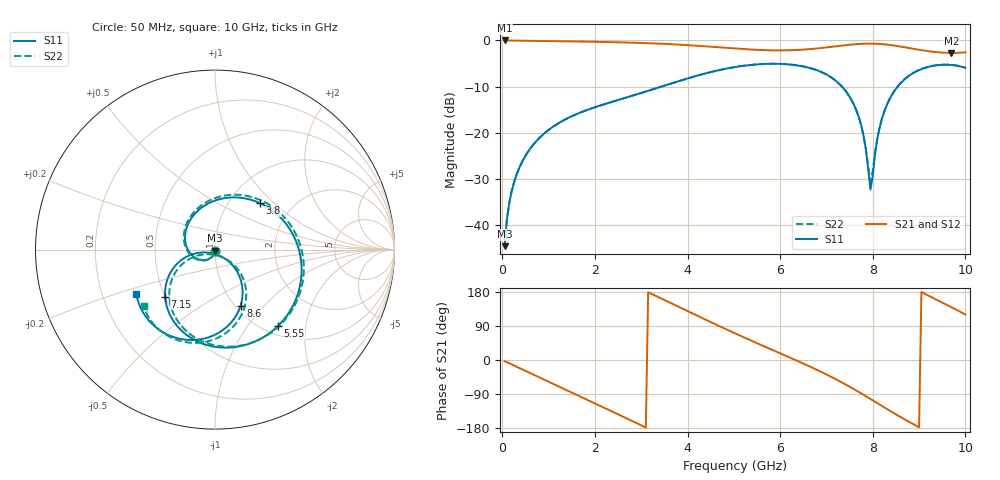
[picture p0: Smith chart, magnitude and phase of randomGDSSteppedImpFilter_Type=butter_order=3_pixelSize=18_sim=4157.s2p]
! freq	dB(S11)	phase(S11)	dB(S12)	phase(S12)
!  dB(S21)	phase(S21)	dB(S22)	phase(S22)
!S-par simulation data
#  GHz  S  DB  R 50
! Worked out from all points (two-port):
!   200 points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, 50 MHz to 10 GHz, reference 50 ohm
!   highest |S21| = -0.01 dB at 50 MHz (marker M1); lowest = -2.7 dB at 9.7 GHz (marker M2)
!   |S21| within 3 dB of the highest: start of sweep to end of sweep
!   lowest |S11| = -44.6 dB at 50 MHz (marker M3), VSWR 1.01, Z = 50 - j0.587 ohm
!   |S11| at or under -10 dB: start of sweep to 3.44 GHz; 7.333 GHz to 8.539 GHz (1.206 GHz wide, 15.2 % of centre)
!   |S22| runs from -44.6 to -5.1 dB; largest |S21 - S12| = 0
!   S11 on the Smith chart (normalised r, x): 50 MHz: 1.00, -0.01; 3.8 GHz: 1.39, +0.82; 5.55 GHz: 1.15, -1.41; 7.15 GHz: 0.50, -0.31; 8.6 GHz: 1.06, -0.75; 10 GHz: 0.35, -0.23
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0.05  -44.62 -88.9  -0.01 -2.9  -0.01 -2.9  -44.61 -89.5
0.2  -32.83 -101.2  -0.02 -11.6  -0.02 -11.6  -32.83 -100.6
0.5  -25.02 -119.8  -0.05 -28.7  -0.05 -28.7  -25.03 -118.3
1.15  -18.35 -158.6  -0.14 -65.9  -0.14 -65.9  -18.35 -155.1
1.75  -15.38 166.0  -0.25 -100.2  -0.25 -100.2  -15.39 171.3
2.65  -12.47 112.9  -0.44 -152.0  -0.44 -152.0  -12.48 120.6
3.4  -10.13 69.0  -0.70 164.2  -0.70 164.2  -10.14 77.2
3.8  -8.86 45.8  -0.90 140.7  -0.90 140.7  -8.87 53.7
4.4  -7.12 11.6  -1.29 105.8  -1.29 105.8  -7.12 18.8
5.05  -5.73 -24.2  -1.77 69.0  -1.77 69.0  -5.73 -17.9
5.55  -5.16 -50.8  -2.06 41.7  -2.06 41.7  -5.16 -45.0
6.7  -6.15 -111.2  -1.83 -20.6  -1.83 -20.6  -6.14 -105.9
7.15  -8.35 -136.6  -1.34 -47.4  -1.34 -47.4  -8.34 -131.1
7.7  -16.71 -167.3  -0.77 -84.5  -0.77 -84.5  -16.66 -160.3
7.85  -23.61 -166.5  -0.70 -95.4  -0.70 -95.4  -23.38 -156.9
7.95  -32.36 -114.7  -0.69 -102.9  -0.69 -102.9  -30.60 -106.6
8.15  -18.85 -41.1  -0.76 -117.8  -0.76 -117.8  -18.69 -38.5
8.35  -13.01 -49.8  -0.95 -132.7  -0.95 -132.7  -12.93 -45.9
8.6  -9.29 -65.4  -1.33 -150.6  -1.33 -150.6  -9.24 -60.6
9.15  -5.88 -99.8  -2.26 173.0  -2.26 173.0  -5.84 -93.8
9.7  -5.34 -132.4  -2.71 139.2  -2.71 139.2  -5.28 -124.8
10  -5.97 -150.6  -2.59 120.0  -2.59 120.0  -5.90 -141.6
